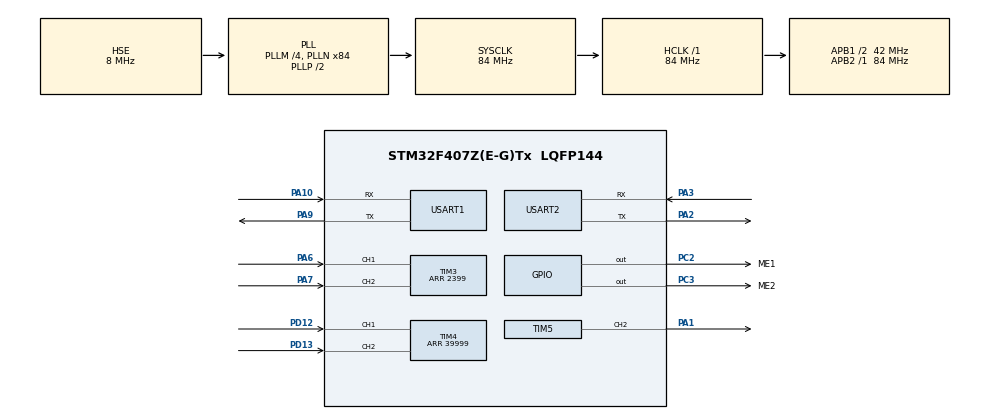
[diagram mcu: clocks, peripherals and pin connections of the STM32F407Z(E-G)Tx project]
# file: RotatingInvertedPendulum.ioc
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Mcu.Family=STM32F4
Mcu.Name=STM32F407Z(E-G)Tx
Mcu.Package=LQFP144
NVIC.PriorityGroup=NVIC_PRIORITYGROUP_4
PA1.GPIO_PuPd=GPIO_PULLUP
PA1.Signal=S_TIM5_CH2
PA10.Mode=Asynchronous
PA10.Signal=USART1_RX
PA2.Mode=Asynchronous
PA2.Signal=USART2_TX
PA3.Mode=Asynchronous
PA3.Signal=USART2_RX
PA6.GPIO_PuPd=GPIO_NOPULL
PA6.Signal=S_TIM3_CH1
PA7.GPIO_PuPd=GPIO_NOPULL
PA7.Signal=S_TIM3_CH2
PA9.Mode=Asynchronous
PA9.Signal=USART1_TX
PC2.GPIO_Label=ME1
PC2.GPIO_PuPd=GPIO_PULLUP
PC2.Signal=GPIO_Output
PC3.GPIO_Label=ME2
PC3.GPIO_PuPd=GPIO_PULLUP
PC3.Signal=GPIO_Output
PD12.Signal=S_TIM4_CH1
PD13.Signal=S_TIM4_CH2
PH0-OSC_IN.Mode=HSE-External-Oscillator
PH0-OSC_IN.Signal=RCC_OSC_IN
PH1-OSC_OUT.Mode=HSE-External-Oscillator
PH1-OSC_OUT.Signal=RCC_OSC_OUT
ProjectManager.HeapSize=0x200
ProjectManager.StackSize=0x400
ProjectManager.TargetToolchain=Other Toolchains (GPDSC)
RCC.48MHZClocksFreq_Value=42000000
RCC.AHBFreq_Value=84000000
RCC.APB1CLKDivider=RCC_HCLK_DIV2
RCC.APB1Freq_Value=42000000
RCC.APB1TimFreq_Value=84000000
RCC.APB2Freq_Value=84000000
RCC.APB2TimFreq_Value=84000000
RCC.CortexFreq_Value=84000000
RCC.HCLKFreq_Value=84000000
RCC.HSE_VALUE=8000000
RCC.HSI_VALUE=16000000
RCC.LSE_VALUE=32768
RCC.PLLM=4
RCC.PLLN=84
RCC.PLLSourceVirtual=RCC_PLLSOURCE_HSE
RCC.SYSCLKFreq_VALUE=84000000
RCC.SYSCLKSource=RCC_SYSCLKSOURCE_PLLCLK
RCC.VCOOutputFreq_Value=168000000
SH.S_TIM3_CH1.0=TIM3_CH1,Encoder_Interface
SH.S_TIM3_CH2.0=TIM3_CH2,Encoder_Interface
SH.S_TIM4_CH1.0=TIM4_CH1,Encoder_Interface
SH.S_TIM4_CH2.0=TIM4_CH2,Encoder_Interface
SH.S_TIM5_CH2.0=TIM5_CH2,PWM Generation2 CH2
TIM3.EncoderMode=TIM_ENCODERMODE_TI12
TIM3.Period=2399
TIM4.EncoderMode=TIM_ENCODERMODE_TI12
TIM4.Period=39999
TIM5.AutoReloadPreload=TIM_AUTORELOAD_PRELOAD_ENABLE
TIM5.Channel-PWM\ Generation2\ CH2=TIM_CHANNEL_2
TIM5.ClockDivision=TIM_CLOCKDIVISION_DIV1
TIM5.Period=1000
TIM5.Prescaler=840-1
TIM5.Pulse-PWM\ Generation2\ CH2=0
USART1.VirtualMode=VM_ASYNC
USART2.VirtualMode=VM_ASYNC
VP_TIM5_VS_ClockSourceINT.Mode=Internal
board=custom

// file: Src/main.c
/* USER CODE BEGIN Header */
/**
  ******************************************************************************
  * @file           : main.c
  * @brief          : Main program body
  ******************************************************************************
  * @attention
  *
  * <h2><center>&copy; Copyright (c) 2021 STMicroelectronics.
  * All rights reserved.</center></h2>
  *
  * This software component is licensed by ST under BSD 3-Clause license,
  * the "License"; You may not use this file except in compliance with the
  * License. You may obtain a copy of the License at:
  *                        opensource.org/licenses/BSD-3-Clause
  *
  ******************************************************************************
  */
/* USER CODE END Header */
#include "main.h"
#include "tim.h"
#include "usart.h"
#include "gpio.h"

/* USER CODE BEGIN Includes */
#include "host.h"
#include "motor.h"
#include "pid.h"
#include "encoder.h"
/* USER CODE END Includes */

/* USER CODE BEGIN PD */

#define ENCODER1_K 10
#define BALANCE_START 300
#define MOTOR_MAX_SPEED 2000

#define USER_MAIN_DEBUG

#ifdef USER_MAIN_DEBUG
#define user_main_printf(format, ...) HostSendLog(LOG_COLOR_BLACK, format "\r\n", ##__VA_ARGS__)
#define user_main_info(format, ...) HostSendLog(LOG_COLOR_BLACK, "[\tmain]info:" format "\r\n", ##__VA_ARGS__)
#define user_main_debug(format, ...) HostSendLog(LOG_COLOR_GREEN, "[\tmain]debug:" format "\r\n", ##__VA_ARGS__)
#define user_main_error(format, ...) HostSendLog(LOG_COLOR_RED, "[\tmain]error:" format "\r\n",##__VA_ARGS__)
#else
#define user_main_printf(format, ...)
#define user_main_info(format, ...)
#define user_main_debug(format, ...)
#define user_main_error(format, ...)
#endif
/* USER CODE END PD */

/* USER CODE BEGIN PV */
s32 pendulumAngle = 0, motorSpd = 0;
/* USER CODE END PV */

void SystemClock_Config(void);

/* USER CODE BEGIN 0 */

void StartRotating()
{
    s32 out;

    struct DataPack dt[4];
    dt[0].type = DATA_TYPE_S16;        //PID out MP
    dt[1].type = DATA_TYPE_S16;        //pendulumAngle

    pidStartRotating.cur = &pendulumAngle;
    pidStartRotating.maxE = encoder0.ppr;

    MotorControl(&motor0, 500);

    HAL_Delay(100);

    pendulumAngle = (EncoderGetValue(&encoder0) + 1200 * 5) % 2400 - 1200;

    while (pendulumAngle < 600 && pendulumAngle > -600)
    {
        pendulumAngle = (EncoderGetValue(&encoder0) + 1200 * 5) % 2400 - 1200;
        out = PIDUpdate(&pidStartRotating);

        MotorControl(&motor0, out);

        dt[0].val.i16 = out;
        dt[1].val.i16 = pendulumAngle;

        HostSendData(0xF1, dt, 2);

        HAL_Delay(10);
    }

    MotorControl(&motor0, 0);

}
/* USER CODE END 0 */

int main(void)
{

  /* MCU Configuration--------------------------------------------------------*/

  /* Reset of all peripherals, Initializes the Flash interface and the Systick. */
    HAL_Init();

  /* USER CODE BEGIN Init */
    struct DataPack dt[3];
    dt[0].type = DATA_TYPE_S16;        //PID out MP
    dt[1].type = DATA_TYPE_S16;        //pendulumAngle
    dt[2].type = DATA_TYPE_S16;        //Motor Speed

    s32 out;

  /* USER CODE END Init */

  /* Configure the system clock */
  SystemClock_Config();

  /* Initialize all configured peripherals */
  MX_GPIO_Init();
  MX_TIM3_Init();
  MX_TIM4_Init();
  MX_TIM5_Init();
  MX_USART1_UART_Init();
  MX_USART2_UART_Init();
  /* USER CODE BEGIN 2 */
    MotorStatus(&motor0, MOTOR_STATUS_ACTIVE);
    EncoderInit(&encoder0);
    EncoderInit(&encoder1);
    PIDInit();

    pidBalance.cur = &pendulumAngle;
    pidBalance.maxE = encoder0.ppr;

    pidMotorSpd.cur = &motorSpd;
    pidMotorSpd.maxE = encoder1.ppr / ENCODER1_K;

    user_main_debug("MCU Running!");

    //StartRotating(); // Start Rotating

  /* USER CODE END 2 */

  /* Infinite loop */
  /* USER CODE BEGIN WHILE */
    while (1)
    {
        MotorControl(&motor0, 0);

        HAL_Delay(500);

        user_main_debug("waiting reset");

        pendulumAngle = EncoderGetValue(&encoder0) - 1200;
        motorSpd = EncoderGetSpeed(&encoder1);

        while (pendulumAngle > BALANCE_START || pendulumAngle < -BALANCE_START || motorSpd > MOTOR_MAX_SPEED || motorSpd < -MOTOR_MAX_SPEED)
        {
            pendulumAngle = EncoderGetValue(&encoder0) - 1200;
            motorSpd = ( motorSpd * 5 + EncoderGetSpeed(&encoder1) ) / 6;

            dt[0].val.i16 = pendulumAngle;
            dt[1].val.i16 = 0;
            dt[2].val.i16 = motorSpd;

            //HostSendData(0xF1, dt, 3);

            HAL_Delay(10);
        }

        user_main_debug("keep balance now");

        pendulumAngle = EncoderGetValue(&encoder0) - 1200;
        motorSpd = EncoderGetSpeed(&encoder1);

        while (pendulumAngle < BALANCE_START && pendulumAngle > -BALANCE_START && motorSpd < MOTOR_MAX_SPEED && motorSpd > -MOTOR_MAX_SPEED)
        {

            pendulumAngle = EncoderGetValue(&encoder0) - 1200;
            out = PIDUpdate(&pidBalance);
            motorSpd = (motorSpd * 5 + EncoderGetSpeed(&encoder1)) / 6;

            MotorControl(&motor0, out);

            dt[0].val.i16 = pendulumAngle;
            dt[1].val.i16 = out;
            dt[2].val.i16 = motorSpd;

            HostSendData(0xF1, dt, 3);

            HAL_Delay(10);

        }

        user_main_error("end Prog");
    }
  /* USER CODE END WHILE */

}

void SystemClock_Config(void)
{
  RCC_OscInitTypeDef RCC_OscInitStruct = {0};
  RCC_ClkInitTypeDef RCC_ClkInitStruct = {0};

  /** Configure the main internal regulator output voltage
  */
  __HAL_RCC_PWR_CLK_ENABLE();
  __HAL_PWR_VOLTAGESCALING_CONFIG(PWR_REGULATOR_VOLTAGE_SCALE1);
  /** Initializes the RCC Oscillators according to the specified parameters
  * in the RCC_OscInitTypeDef structure.
  */
  RCC_OscInitStruct.OscillatorType = RCC_OSCILLATORTYPE_HSE;
  RCC_OscInitStruct.HSEState = RCC_HSE_ON;
  RCC_OscInitStruct.PLL.PLLState = RCC_PLL_ON;
  RCC_OscInitStruct.PLL.PLLSource = RCC_PLLSOURCE_HSE;
  RCC_OscInitStruct.PLL.PLLM = 4;
  RCC_OscInitStruct.PLL.PLLN = 84;
  RCC_OscInitStruct.PLL.PLLP = RCC_PLLP_DIV2;
  RCC_OscInitStruct.PLL.PLLQ = 4;
  if (HAL_RCC_OscConfig(&RCC_OscInitStruct) != HAL_OK)
  {
    Error_Handler();
  }
  /** Initializes the CPU, AHB and APB buses clocks
  */
  RCC_ClkInitStruct.ClockType = RCC_CLOCKTYPE_HCLK|RCC_CLOCKTYPE_SYSCLK
                              |RCC_CLOCKTYPE_PCLK1|RCC_CLOCKTYPE_PCLK2;
  RCC_ClkInitStruct.SYSCLKSource = RCC_SYSCLKSOURCE_PLLCLK;
  RCC_ClkInitStruct.AHBCLKDivider = RCC_SYSCLK_DIV1;
  RCC_ClkInitStruct.APB1CLKDivider = RCC_HCLK_DIV2;
  RCC_ClkInitStruct.APB2CLKDivider = RCC_HCLK_DIV1;

  if (HAL_RCC_ClockConfig(&RCC_ClkInitStruct, FLASH_LATENCY_2) != HAL_OK)
  {
    Error_Handler();
  }
}

void Error_Handler(void)
{
    __disable_irq();
    while (1)
    {
    }
}

/************************ (C) COPYRIGHT STMicroelectronics *****END OF FILE****/
